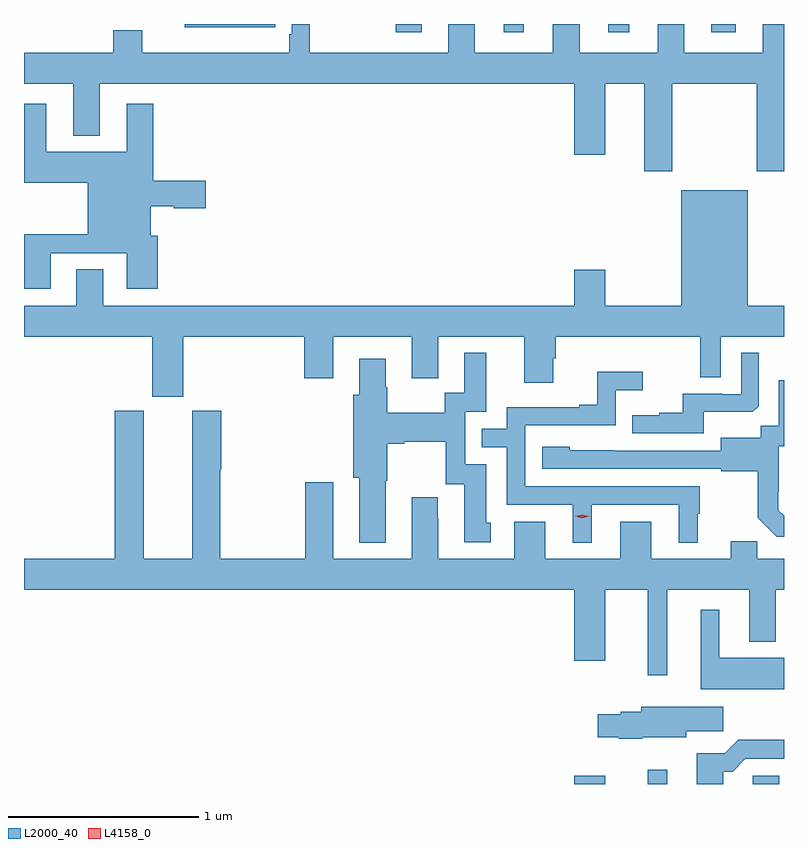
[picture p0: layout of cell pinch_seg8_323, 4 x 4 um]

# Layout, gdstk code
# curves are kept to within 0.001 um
import gdstk
lib = gdstk.Library(unit=1e-6, precision=1e-09)
def R(c, l, rs):  # rectangles x0, y0, x1, y1
    for r in rs: c.add(gdstk.rectangle(r[:2], r[2:], *l))
def P(c, l, *ps):  # polygons
    for p in ps: c.add(gdstk.Polygon(p, *l))
L2000_40 = (2000, 40)
L4158_0 = (4158, 0)

pinch_seg8_323 = lib.new_cell('pinch_seg8_323')
R(pinch_seg8_323, L2000_40, [(488.684,1158.102,488.848,1158.145), (489.071,1158.102,489.175,1158.178), (489.624,1158.102,489.763,1158.146), (487.745,1162.059,487.882,1162.102), (488.315,1162.059,488.419,1162.102), (488.864,1162.059,488.974,1162.102), (489.407,1162.059,489.535,1162.102)])
P(pinch_seg8_323, L2000_40, [(489.201,1161.788),(489.646,1161.788),(489.646,1161.327),(489.789,1161.327),(489.789,1162.102),(489.677,1162.102),(489.677,1161.952),(489.265,1161.952),(489.265,1162.102),(489.125,1162.102),(489.125,1161.952),(488.713,1161.952),(488.713,1162.102),(488.573,1162.102),(488.573,1161.952),(488.161,1161.952),(488.161,1162.102),(488.021,1162.102),(488.021,1161.952),(487.294,1161.952),(487.294,1162.102),(487.197,1162.102),(487.197,1162.048),(487.184,1162.048),(487.184,1161.952),(486.412,1161.952),(486.412,1162.069),(486.26,1162.069),(486.26,1161.952),(485.789,1161.952),(485.789,1161.788),(486.047,1161.788),(486.047,1161.515),(486.187,1161.515),(486.187,1161.788),(488.684,1161.788),(488.684,1161.414),(488.848,1161.414),(488.848,1161.788),(489.053,1161.788),(489.053,1161.327),(489.201,1161.327)],
  [(487.004,1162.086),(487.112,1162.086),(487.112,1162.102),(486.636,1162.102),(486.636,1162.085),(487.004,1162.085)],
  [(485.929,1160.895),(486.329,1160.895),(486.329,1160.709),(486.494,1160.709),(486.494,1160.988),(486.457,1160.988),(486.457,1161.143),(486.577,1161.143),(486.577,1161.131),(486.745,1161.131),(486.745,1161.278),(486.47,1161.278),(486.47,1161.682),(486.329,1161.682),(486.329,1161.43),(485.905,1161.43),(485.905,1161.682),(485.789,1161.682),(485.789,1161.266),(486.125,1161.266),(486.125,1160.996),(485.789,1160.996),(485.789,1160.709),(485.929,1160.709)],
  [(486.628,1160.456),(487.265,1160.456),(487.265,1160.238),(487.417,1160.238),(487.417,1160.456),(487.829,1160.456),(487.829,1160.238),(487.969,1160.238),(487.969,1160.456),(488.423,1160.456),(488.423,1160.214),(488.575,1160.214),(488.575,1160.343),(488.588,1160.343),(488.588,1160.456),(489.348,1160.456),(489.348,1160.242),(489.456,1160.242),(489.456,1160.456),(489.789,1160.456),(489.789,1160.62),(489.598,1160.62),(489.598,1161.226),(489.248,1161.226),(489.248,1160.62),(488.848,1160.62),(488.848,1160.809),(488.684,1160.809),(488.684,1160.62),(486.205,1160.62),(486.205,1160.81),(486.065,1160.81),(486.065,1160.62),(485.789,1160.62),(485.789,1160.456),(486.464,1160.456),(486.464,1160.139),(486.628,1160.139)],
  [(489.367,1160.06),(489.625,1160.06),(489.657,1160.091),(489.657,1160.371),(489.564,1160.371),(489.564,1160.154),(489.464,1160.154),(489.464,1160.157),(489.257,1160.157),(489.257,1160.056),(489.133,1160.056),(489.133,1160.044),(488.989,1160.044),(488.989,1159.947),(489.367,1159.947)],
  [(487.693,1159.699),(487.701,1159.699),(487.701,1159.892),(487.789,1159.892),(487.789,1159.904),(488.009,1159.904),(488.009,1159.68),(488.105,1159.68),(488.105,1159.374),(488.245,1159.374),(488.245,1159.476),(488.221,1159.476),(488.221,1159.785),(488.112,1159.785),(488.112,1160.061),(488.221,1160.061),(488.221,1160.371),(488.105,1160.371),(488.105,1160.162),(488.004,1160.162),(488.004,1160.056),(487.701,1160.056),(487.701,1160.19),(487.693,1160.19),(487.693,1160.341),(487.553,1160.341),(487.553,1160.151),(487.523,1160.151),(487.523,1159.715),(487.553,1159.715),(487.553,1159.373),(487.693,1159.373)],
  [(488.776,1159.572),(489.236,1159.572),(489.236,1159.373),(489.334,1159.373),(489.334,1159.524),(489.346,1159.524),(489.346,1159.668),(488.427,1159.668),(488.427,1159.989),(488.904,1159.989),(488.904,1160.174),(489.046,1160.174),(489.046,1160.273),(488.806,1160.273),(488.806,1160.098),(488.711,1160.098),(488.711,1160.085),(488.331,1160.085),(488.331,1159.971),(488.197,1159.971),(488.197,1159.875),(488.331,1159.875),(488.331,1159.572),(488.678,1159.572),(488.678,1159.373),(488.776,1159.373)],
  [(489.789,1159.515),(489.76,1159.544),(489.76,1159.639),(489.762,1159.639),(489.762,1159.88),(489.789,1159.88),(489.789,1160.227),(489.761,1160.227),(489.761,1159.988),(489.666,1159.988),(489.666,1159.924),(489.455,1159.924),(489.455,1159.857),(488.661,1159.858),(488.661,1159.876),(488.517,1159.876),(488.517,1159.761),(489.459,1159.761),(489.459,1159.749),(489.651,1159.749),(489.651,1159.503),(489.751,1159.403),(489.789,1159.403)],
  [(488.684,1158.75),(488.848,1158.75),(488.848,1159.124),(489.071,1159.124),(489.071,1158.675),(489.175,1158.675),(489.175,1159.124),(489.605,1159.124),(489.605,1158.851),(489.745,1158.851),(489.745,1159.124),(489.789,1159.124),(489.789,1159.288),(489.647,1159.288),(489.647,1159.379),(489.509,1159.379),(489.509,1159.288),(489.091,1159.288),(489.091,1159.483),(488.927,1159.483),(488.927,1159.288),(488.533,1159.288),(488.533,1159.483),(488.369,1159.483),(488.369,1159.288),(487.969,1159.288),(487.969,1159.499),(487.966,1159.499),(487.966,1159.612),(487.829,1159.612),(487.829,1159.288),(487.417,1159.288),(487.417,1159.69),(487.27,1159.69),(487.27,1159.288),(486.822,1159.288),(486.822,1159.755),(486.827,1159.755),(486.827,1160.067),(486.674,1160.067),(486.674,1159.288),(486.418,1159.288),(486.418,1160.067),(486.266,1160.067),(486.266,1159.288),(485.789,1159.288),(485.789,1159.124),(488.684,1159.124)],
  [(489.789,1158.766),(489.448,1158.766),(489.448,1159.018),(489.35,1159.018),(489.35,1158.602),(489.789,1158.602)],
  [(489.042,1158.347),(489.274,1158.347),(489.274,1158.379),(489.469,1158.379),(489.469,1158.508),(489.038,1158.508),(489.038,1158.482),(488.931,1158.482),(488.931,1158.469),(488.808,1158.469),(488.808,1158.347),(488.92,1158.347),(488.92,1158.34),(489.042,1158.34)],
  [(489.469,1158.167),(489.518,1158.167),(489.585,1158.234),(489.789,1158.234),(489.789,1158.335),(489.548,1158.335),(489.478,1158.265),(489.329,1158.265),(489.329,1158.102),(489.469,1158.102)])
P(pinch_seg8_323, L4158_0, [(488.727,1159.5),(488.691,1159.51),(488.691,1159.51),(488.691,1159.51),(488.727,1159.52),(488.762,1159.51),(488.763,1159.51),(488.762,1159.51)])

lib.write_gds('pinch_seg8_323.gds')
